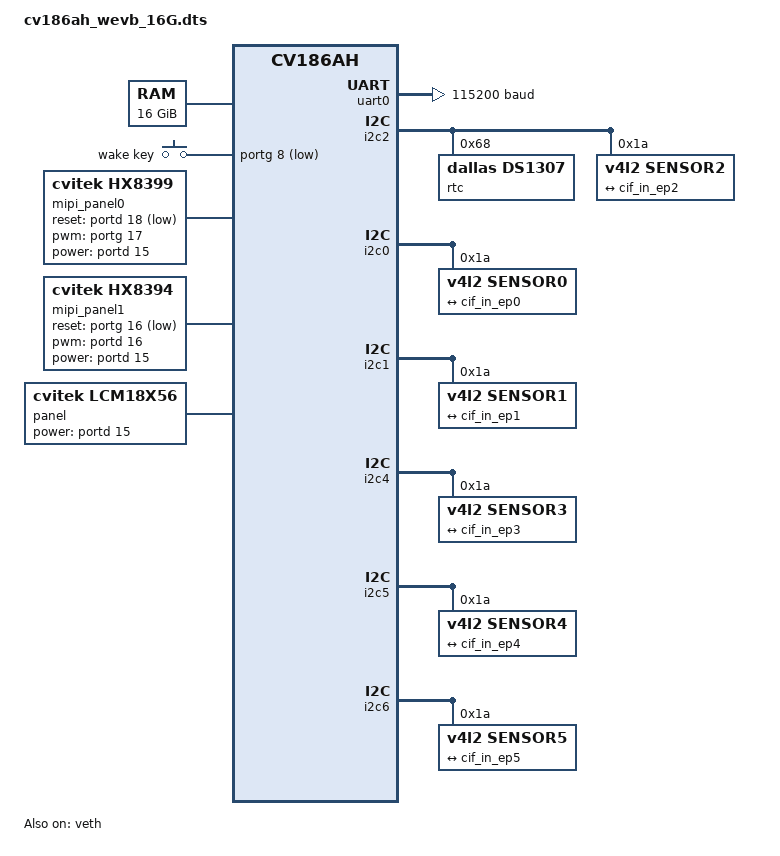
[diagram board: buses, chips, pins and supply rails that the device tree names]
/dts-v1/;
#include "soph_base_arm64.dtsi"
//#include "soph_asic_bga.dtsi"
#include "soph_asic_emmc.dtsi"
#include "soph_default_memmap.dtsi"

/ {
	aliases {
		serial0 = &uart0;
	};

	chosen {
		stdout-path = "serial0"; // "serial0:115200n8", no arguments means no re-initialization
	};

	memory@100000000 {
		device_type = "memory";
		reg = <0x1 0x00000000 0x4 0x00000000>;  //16G
    };

	reserved-memory {
		#address-cells = <0x2>;
		#size-cells = <0x2>;
		ranges;
#ifndef __UBOOT__
		//0x1_0400_0000 - 0x1_2400_0000 for TPU (owner: zhuolin.li@sophgo.com)
		//Don't move the TPU address
		scalar_reserved: scalar_mem {
			reg = <0x1 0x04000000 0x0 0x20000000>;  //512MB for TPU firmware
			no-map;
		};

		ion_for_npu: ion_npu_mem {
			compatible = "npu-region";
			reg = <0x2 0x00000000 0x1 0x00000000>; // 4G, for npu
		};

		ion_for_vpp: ion_vpp_mem {
			compatible = "vpp-region";
			reg = <0x3 0x00000000 0x1 0x00000000>; // 4G, for TPU
		};
#endif
	};

	gpio-keys {
		compatible = "gpio-keys";

		wake {
			label = "wake key";
			gpios = <&portg 8 GPIO_ACTIVE_LOW>;
			linux,code = <143>;
			linux,input-type = <EV_KEY>;
			wakeup-source;
		};
	};

	cpus {
		#size-cells = <0x0>;
		#address-cells = <0x1>;

		/delete-node/ cpu-map;
		cpu-map {
			cluster0 {
				core0 {
					cpu = <&cpu0>;
				};
				core1 {
					cpu = <&cpu1>;
				};
				core2 {
					cpu = <&cpu2>;
				};
				core3 {
					cpu = <&cpu3>;
				};
			};

			cluster1 {
				core0 {
					cpu = <&cpu4>;
				};
				core1 {
					cpu = <&cpu5>;
				};
			};
		};
		/delete-node/ cpu@102;
		/delete-node/ cpu@103;
	};
};

&uart0 {
	clock-frequency = <200000000>;
	current-speed = <115200>;
};

&mipi_dsi0 {
	clock-lane = <2>;
	data-lanes = <4 3 1 0>;
	lanes-swap = <0 0 0 0 0>;
};

&mipi_panel0 {
	compatible = "cvitek,hx8399";
	status = "okay";
	reset-gpio = <&portd 18 GPIO_ACTIVE_LOW>;
	pwm-gpio = <&portg 17 GPIO_ACTIVE_HIGH>;
	power-gpio = <&portd 15 GPIO_ACTIVE_HIGH>;
};

&mipi_dsi1 {
	clock-lane = <2>;
	data-lanes = <0 1 3 4>;
	lanes-swap = <0 0 0 0 0>;
};

&mipi_panel1 {
	compatible = "cvitek,hx8394";
	status = "okay";
	reset-gpio = <&portg 16 GPIO_ACTIVE_LOW>;
	pwm-gpio = <&portd 16 GPIO_ACTIVE_HIGH>;
	power-gpio = <&portd 15 GPIO_ACTIVE_HIGH>;
};

&panel {
	compatible = "cvitek,lcm18x56";
	power-gpio = <&portd 15 GPIO_ACTIVE_HIGH>;
	status = "okay";
};

&panel1 {
	compatible = "cvitek,lcm18x56";
	power-gpio = <&portd 15 GPIO_ACTIVE_HIGH>;
	status = "disable";
};

&usbdrd3_0 {
	vbus-gpio = <&porte 1 GPIO_ACTIVE_HIGH>;
	usbdrd_dwc3_0: usb@39010000 {
		role-switch-default-mode = "host";
	};
};

&usbdrd3_1 {
	vbus-gpio = <&porte 2 GPIO_ACTIVE_HIGH>;
};

&i2c2 {
	rtc@68 {
		compatible = "dallas,ds1307";
		reg = <0x68>;
	};
};

&cif_v4l2 {
	ports {
		#address-cells = <1>;
		#size-cells = <0>;
		cif_in: port@0 {
			reg = <0>;
			cif_in_ep0: endpoint@0 {
				remote-endpoint = <&sensor0_out>;
			};
			cif_in_ep1: endpoint@1 {
				remote-endpoint = <&sensor1_out>;
			};
			cif_in_ep2: endpoint@2 {
				remote-endpoint = <&sensor2_out>;
			};
			cif_in_ep3: endpoint@3 {
				remote-endpoint = <&sensor3_out>;
			};
			cif_in_ep4: endpoint@4 {
				remote-endpoint = <&sensor4_out>;
			};
			cif_in_ep5: endpoint@5 {
				remote-endpoint = <&sensor5_out>;
			};
		};
	};
};

&i2c0 {
	sensor0@1a{
		status = "okay";
		compatible = "v4l2,sensor0";
		reg = <0x1a>;
		port {
			sensor0_out: endpoint {
				remote-endpoint = <&cif_in_ep0>;
			};
		};
	};
};

&i2c1 {
	sensor1@1a{
		status = "okay";
		compatible = "v4l2,sensor1";
		reg = <0x1a>;
		port {
			sensor1_out: endpoint {
				remote-endpoint = <&cif_in_ep1>;
			};
		};
	};
};


&i2c2 {
	sensor2@1a{
		status = "okay";
		compatible = "v4l2,sensor2";
		reg = <0x1a>;
		port {
			sensor2_out: endpoint {
				remote-endpoint = <&cif_in_ep2>;
			};
		};
	};
};

&i2c4 {
	sensor3@1a{
		status = "okay";
		compatible = "v4l2,sensor3";
		reg = <0x1a>;
		port {
			sensor3_out: endpoint {
				remote-endpoint = <&cif_in_ep3>;
			};
		};
	};
};

&i2c5 {
	sensor4@1a{
		status = "okay";
		compatible = "v4l2,sensor4";
		reg = <0x1a>;
		port {
			sensor4_out: endpoint {
				remote-endpoint = <&cif_in_ep4>;
			};
		};
	};
};

&i2c6 {
	sensor5@1a{
		status = "okay";
		compatible = "v4l2,sensor5";
		reg = <0x1a>;
		port {
			sensor5_out: endpoint {
				remote-endpoint = <&cif_in_ep5>;
			};
		};
	};
};

&veth {
	status = "okay";
};
